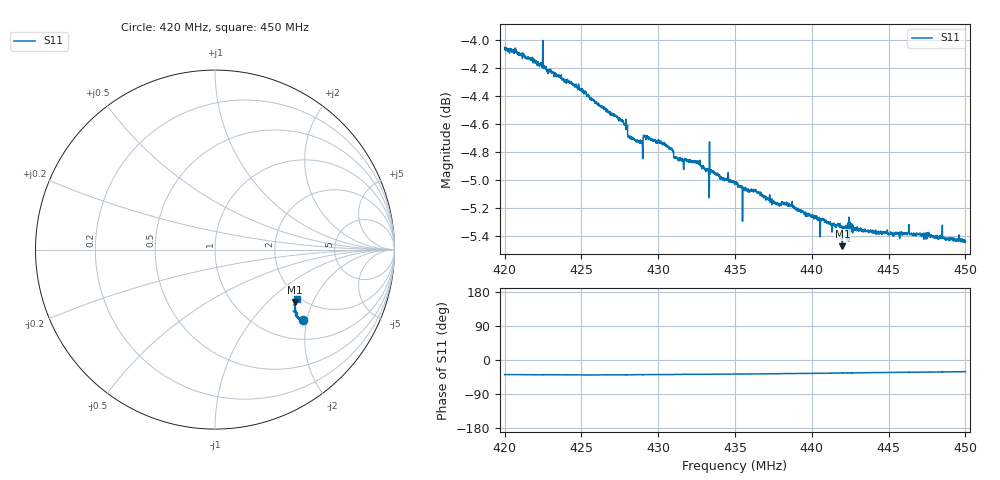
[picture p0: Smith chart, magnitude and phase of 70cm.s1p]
! Calibrated averaged scanner-service zoom
# Hz S RI R 50
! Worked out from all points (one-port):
!   3001 points, 420 MHz to 450 MHz, reference 50 ohm
!   lowest |S11| = -5.5 dB at 442 MHz (marker M1), VSWR 3.28, Z = 91 - j74.3 ohm
!   |S11| at or under -10 dB: nowhere
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4.2e8  0.4902 -0.3915
4.2235e8  0.4813 -0.3878
4.2375e8  0.4742 -0.3848
4.2516e8  0.466 -0.3841
4.2685e8  0.4613 -0.3756
4.275e8  0.4583 -0.3744
4.2785e8  0.4556 -0.3729
4.2816e8  0.4519 -0.3667
4.2883e8  0.4533 -0.3631
4.2939e8  0.455 -0.3619
4.308e8  0.4524 -0.3585
4.3125e8  0.4508 -0.3531
4.3175e8  0.4518 -0.3499
4.3267e8  0.4502 -0.3489
4.3318e8  0.4492 -0.3466
4.3349e8  0.4488 -0.3454
4.35e8  0.448 -0.338
4.3564e8  0.4458 -0.3358
4.3629e8  0.4472 -0.3333
4.3784e8  0.4451 -0.3258
4.3816e8  0.4469 -0.3235
4.3875e8  0.4468 -0.3214
4.4046e8  0.446 -0.3128
4.4199e8  0.4449 -0.2927
4.425e8  0.4493 -0.3052
4.4404e8  0.4498 -0.2963
4.4625e8  0.455 -0.2878
4.5e8  0.459 -0.274
